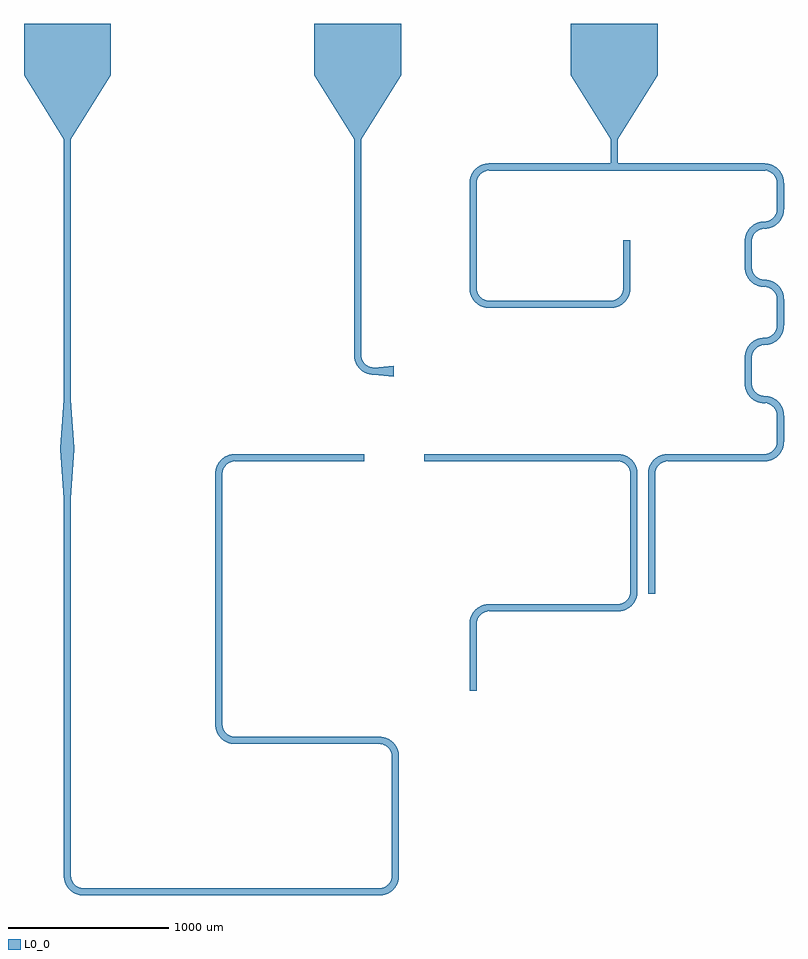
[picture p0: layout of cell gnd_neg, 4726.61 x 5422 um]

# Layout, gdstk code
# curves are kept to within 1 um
import gdstk
lib = gdstk.Library(unit=1e-6, precision=1e-09)
def R(c, l, rs):  # rectangles x0, y0, x1, y1
    for r in rs: c.add(gdstk.rectangle(r[:2], r[2:], *l))
def A(c, l, x, y, w, h, nx, ny, dx, dy):  # array of equal rectangles
    R(c, l, [(x+i*dx, y+j*dy, x+i*dx+w, y+j*dy+h) for i in range(nx) for j in range(ny)])
def P(c, l, *ps):  # polygons
    for p in ps: c.add(gdstk.Polygon(p, *l))
L0_0 = (0, 0)

gnd_neg = lib.new_cell('gnd_neg')
A(gnd_neg, L0_0, 6107.612, 3600, 44, 161.6, 1, 3, 0, 723.2)
R(gnd_neg, L0_0, [(1795,778,3635,822), (1673,900,1717,3248.102), (3713,900,3757,1641.9), (2736.9,1719.9,3635,1763.9), (2614.9,1841.9,2658.9,3400), (4196.1,2051.239,4240.1,2467), (4318.1,2545,5118.1,2589), (5306.1,2655,5350.1,3400), (5196.1,2667,5240.1,3400), (2736.9,3478,3539.9,3522), (3915.1,3478,5118.1,3522), (5428.1,3478,6029.612,3522), (1651,3548.102,1739,3560.102), (1651,3548.102,1739,3561.102), (1673,3861.102,1717,5308), (5907.612,3961.6,5951.612,4123.2), (3478,4138.8,3522,5480), (4318.1,4432,5073.856,4476), (4196.1,4554,4240.1,5208), (5151.856,4554,5195.856,4841.105), (5907.612,4684.8,5951.612,4846.4), (5151.856,4841.105,5195.856,4853.105), (4318.1,5286,5095,5330), (5095,5286,6029.612,5330), (1673,5308,1717,5480), (5073,5308,5117,5480), (1425,5880,1965,6200), (3230,5880,3770,6200), (4825,5880,5365,6200)])
P(gnd_neg, L0_0, [(3478,5480),(3230,5880),(3770,5880),(3522,5480)],
  [(3600,4016.8),(3578.128,4018.777),(3554.039,4025.788),(3531.894,4037.579),(3514.851,4051.429),(3498.779,4070.694),(3486.988,4092.839),(3479.977,4116.928),(3478,4138.8),(3522,4138.8),(3523.649,4122.845),(3527.747,4109.415),(3535.285,4095.257),(3544.14,4084.36),(3556.457,4074.085),(3568.765,4067.327),(3584.045,4062.449),(3600,4060.8)],
  [(3724,4004.8),(3600,4016.8),(3600,4060.8),(3724,4072.8)],
  [(2614.9,3400),(2616.877,3421.872),(2623.888,3445.961),(2635.679,3468.106),(2649.529,3485.149),(2668.794,3501.221),(2690.939,3513.012),(2715.028,3520.023),(2736.9,3522),(2736.9,3478),(2720.945,3476.351),(2707.515,3472.253),(2693.357,3464.715),(2682.46,3455.86),(2672.185,3443.543),(2665.427,3431.235),(2660.549,3415.955),(2658.9,3400)],
  [(2736.9,1719.9),(2715.028,1721.877),(2690.939,1728.888),(2668.794,1740.679),(2651.751,1754.529),(2635.679,1773.794),(2623.888,1795.939),(2616.877,1820.028),(2614.9,1841.9),(2658.9,1841.9),(2660.549,1825.945),(2664.647,1812.515),(2672.185,1798.357),(2681.04,1787.46),(2693.357,1777.185),(2705.665,1770.427),(2720.945,1765.549),(2736.9,1763.9)],
  [(3713,1641.9),(3711.351,1657.855),(3707.253,1671.285),(3699.715,1685.443),(3690.86,1696.34),(3678.543,1706.615),(3666.235,1713.373),(3650.955,1718.251),(3635,1719.9),(3635,1763.9),(3650.665,1762.89),(3666.07,1759.877),(3680.961,1754.912),(3695.091,1748.075),(3708.226,1739.48),(3720.149,1729.271),(3737.941,1707.377),(3745.496,1693.618),(3752.138,1675.997),(3755.547,1660.675),(3757,1641.9)],
  [(3635,778),(3635,822),(3650.955,823.649),(3664.385,827.747),(3678.543,835.285),(3689.44,844.14),(3699.715,856.457),(3706.473,868.765),(3711.351,884.045),(3713,900),(3757,900),(3755.023,878.128),(3748.012,854.039),(3736.221,831.894),(3722.371,814.851),(3703.106,798.779),(3680.961,786.988),(3656.872,779.977)],
  [(1795,778),(1773.128,779.977),(1749.039,786.988),(1726.894,798.779),(1709.851,812.629),(1693.779,831.894),(1681.988,854.039),(1674.977,878.128),(1673,900),(1717,900),(1718.649,884.045),(1722.747,870.615),(1730.285,856.457),(1739.14,845.56),(1751.457,835.285),(1763.765,828.527),(1779.045,823.649),(1795,822)],
  [(1673,3248.102),(1651,3548.102),(1739,3548.102),(1717,3248.102)],
  [(1673,5480),(1425,5880),(1965,5880),(1717,5480)],
  [(1651,3561.102),(1673,3861.102),(1717,3861.102),(1739,3561.102)],
  [(5196.1,3400),(5194.451,3415.955),(5190.353,3429.385),(5182.815,3443.543),(5173.96,3454.44),(5161.643,3464.715),(5149.335,3471.473),(5134.055,3476.351),(5118.1,3478),(5118.1,3522),(5133.765,3520.99),(5149.17,3517.977),(5164.061,3513.012),(5178.191,3506.175),(5191.326,3497.58),(5203.249,3487.371),(5221.041,3465.477),(5228.596,3451.718),(5235.238,3434.097),(5238.647,3418.775),(5240.1,3400)],
  [(5118.1,2545),(5118.1,2589),(5134.055,2590.649),(5147.485,2594.747),(5161.643,2602.285),(5172.54,2611.14),(5182.815,2623.457),(5189.573,2635.765),(5194.451,2651.045),(5196.1,2667),(5240.1,2667),(5238.123,2645.128),(5231.112,2621.039),(5219.321,2598.894),(5205.471,2581.851),(5186.206,2565.779),(5164.061,2553.988),(5139.972,2546.977)],
  [(4196.1,2467),(4198.077,2488.872),(4205.088,2512.961),(4216.879,2535.106),(4230.729,2552.149),(4249.994,2568.221),(4272.139,2580.012),(4296.228,2587.023),(4318.1,2589),(4318.1,2545),(4302.145,2543.351),(4288.715,2539.253),(4274.557,2531.715),(4263.66,2522.86),(4253.385,2510.543),(4246.627,2498.235),(4241.749,2482.955),(4240.1,2467)],
  [(5073,5480),(4825,5880),(5365,5880),(5117,5480)],
  [(5306.1,3400),(5308.077,3421.872),(5315.088,3445.961),(5326.879,3468.106),(5340.729,3485.149),(5359.994,3501.221),(5382.139,3513.012),(5406.228,3520.023),(5428.1,3522),(5428.1,3478),(5412.145,3476.351),(5398.715,3472.253),(5384.557,3464.715),(5373.66,3455.86),(5363.385,3443.543),(5356.627,3431.235),(5351.749,3415.955),(5350.1,3400)],
  [(6029.612,3478),(6029.612,3522),(6045.567,3523.649),(6058.997,3527.747),(6073.155,3535.285),(6084.052,3544.14),(6094.327,3556.457),(6101.085,3568.765),(6105.963,3584.045),(6107.612,3600),(6151.612,3600),(6149.635,3578.128),(6142.624,3554.039),(6130.833,3531.894),(6116.983,3514.851),(6097.718,3498.779),(6075.573,3486.988),(6051.484,3479.977)],
  [(6107.612,3761.6),(6105.963,3777.555),(6101.865,3790.985),(6095.427,3803.462),(6085.472,3816.04),(6073.155,3826.315),(6060.847,3833.073),(6045.567,3837.951),(6029.612,3839.6),(6029.612,3883.6),(6045.277,3882.59),(6060.682,3879.577),(6075.573,3874.612),(6089.703,3867.775),(6102.838,3859.18),(6114.761,3848.971),(6132.553,3827.077),(6140.108,3813.318),(6146.75,3795.697),(6150.159,3780.375),(6151.612,3761.6)],
  [(6029.612,3839.6),(6007.74,3841.577),(5983.651,3848.588),(5961.506,3860.379),(5944.463,3874.229),(5928.391,3893.494),(5916.6,3915.639),(5909.589,3939.728),(5907.612,3961.6),(5951.612,3961.6),(5953.261,3945.645),(5957.359,3932.215),(5964.897,3918.057),(5973.752,3907.16),(5986.069,3896.885),(5998.377,3890.127),(6013.657,3885.249),(6029.612,3883.6)],
  [(5907.612,4123.2),(5909.589,4145.072),(5916.6,4169.161),(5928.391,4191.306),(5942.241,4208.349),(5961.506,4224.421),(5983.651,4236.212),(6007.74,4243.223),(6029.612,4245.2),(6029.612,4201.2),(6013.657,4199.551),(6000.227,4195.453),(5986.069,4187.915),(5975.172,4179.06),(5964.897,4166.743),(5958.139,4154.435),(5953.261,4139.155),(5951.612,4123.2)],
  [(6029.612,4201.2),(6029.612,4245.2),(6045.567,4246.849),(6058.997,4250.947),(6073.155,4258.485),(6084.052,4267.34),(6094.327,4279.657),(6101.085,4291.965),(6105.963,4307.245),(6107.612,4323.2),(6151.612,4323.2),(6149.635,4301.328),(6142.624,4277.239),(6130.833,4255.094),(6116.983,4238.051),(6097.718,4221.979),(6075.573,4210.188),(6051.484,4203.177)],
  [(6107.612,4484.8),(6105.963,4500.755),(6101.865,4514.185),(6095.427,4526.662),(6085.472,4539.24),(6073.155,4549.515),(6060.847,4556.273),(6045.567,4561.151),(6029.612,4562.8),(6029.612,4606.8),(6045.277,4605.79),(6060.682,4602.777),(6075.573,4597.812),(6089.703,4590.975),(6102.838,4582.38),(6114.761,4572.171),(6132.553,4550.277),(6140.108,4536.518),(6146.75,4518.897),(6150.159,4503.575),(6151.612,4484.8)],
  [(6029.612,4562.8),(6007.74,4564.777),(5983.651,4571.788),(5961.506,4583.579),(5944.463,4597.429),(5928.391,4616.694),(5916.6,4638.839),(5909.589,4662.928),(5907.612,4684.8),(5951.612,4684.8),(5953.261,4668.845),(5957.359,4655.415),(5964.897,4641.257),(5973.752,4630.36),(5986.069,4620.085),(5998.377,4613.327),(6013.657,4608.449),(6029.612,4606.8)],
  [(5907.612,4846.4),(5909.589,4868.272),(5916.6,4892.361),(5928.391,4914.506),(5942.241,4931.549),(5961.506,4947.621),(5983.651,4959.412),(6007.74,4966.423),(6029.612,4968.4),(6029.612,4924.4),(6013.657,4922.751),(6000.227,4918.653),(5986.069,4911.115),(5975.172,4902.26),(5964.897,4889.943),(5958.139,4877.635),(5953.261,4862.355),(5951.612,4846.4)],
  [(6029.612,4924.4),(6029.612,4968.4),(6045.567,4970.049),(6058.997,4974.147),(6073.155,4981.685),(6084.052,4990.54),(6094.327,5002.857),(6101.085,5015.165),(6105.963,5030.445),(6107.612,5046.4),(6151.612,5046.4),(6149.635,5024.528),(6142.624,5000.439),(6130.833,4978.294),(6116.983,4961.251),(6097.718,4945.179),(6075.573,4933.388),(6051.484,4926.377)],
  [(6107.612,5208),(6105.963,5223.955),(6101.865,5237.385),(6095.427,5249.862),(6085.472,5262.44),(6073.155,5272.715),(6060.847,5279.473),(6045.567,5284.351),(6029.612,5286),(6029.612,5330),(6045.277,5328.99),(6060.682,5325.977),(6075.573,5321.012),(6089.703,5314.175),(6102.838,5305.58),(6114.761,5295.371),(6132.553,5273.477),(6140.108,5259.718),(6146.75,5242.097),(6150.159,5226.775),(6151.612,5208)],
  [(4196.1,5208),(4198.077,5229.872),(4205.088,5253.961),(4216.879,5276.106),(4230.729,5293.149),(4249.994,5309.221),(4272.139,5321.012),(4296.228,5328.023),(4318.1,5330),(4318.1,5286),(4302.145,5284.351),(4288.715,5280.253),(4274.557,5272.715),(4263.66,5263.86),(4253.385,5251.543),(4246.627,5239.235),(4241.749,5223.955),(4240.1,5208)],
  [(4318.1,4432),(4296.228,4433.977),(4272.139,4440.988),(4249.994,4452.779),(4232.951,4466.629),(4216.879,4485.894),(4205.088,4508.039),(4198.077,4532.128),(4196.1,4554),(4240.1,4554),(4241.749,4538.045),(4245.847,4524.615),(4253.385,4510.457),(4262.24,4499.56),(4274.557,4489.285),(4286.865,4482.527),(4302.145,4477.649),(4318.1,4476)],
  [(5073.856,4432),(5073.856,4476),(5089.811,4477.649),(5103.241,4481.747),(5117.399,4489.285),(5128.296,4498.14),(5138.571,4510.457),(5145.329,4522.765),(5150.207,4538.045),(5151.856,4554),(5195.856,4554),(5193.879,4532.128),(5186.868,4508.039),(5175.077,4485.894),(5161.227,4468.851),(5141.962,4452.779),(5119.817,4440.988),(5095.728,4433.977)])

lib.write_gds('gnd_neg.gds')
